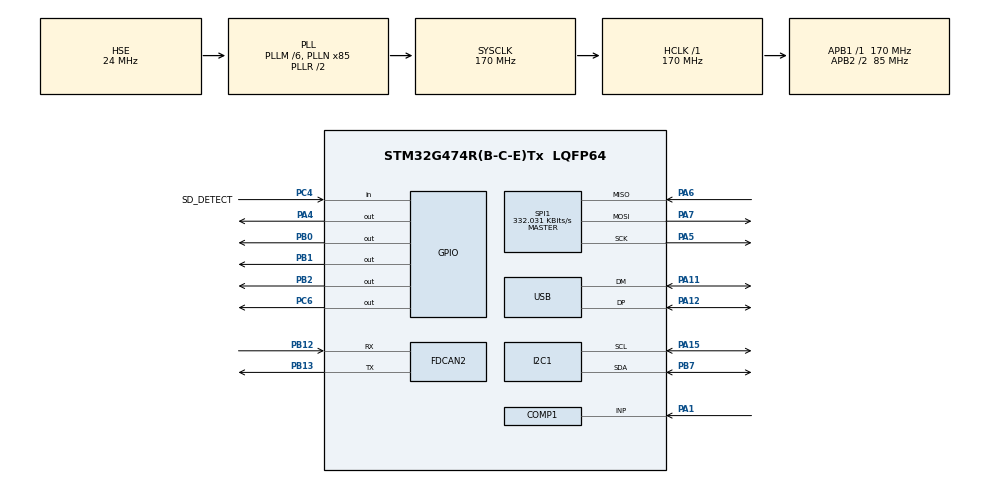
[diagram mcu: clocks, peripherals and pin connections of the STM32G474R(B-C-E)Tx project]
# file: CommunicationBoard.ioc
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COMP1.Hysteresis=COMP_HYSTERESIS_20MV
COMP1.TriggerMode=COMP_TRIGGERMODE_IT_FALLING
FDCAN2.CalculateBaudRateNominal=3541666
FDCAN2.CalculateTimeBitNominal=282
FDCAN2.CalculateTimeQuantumNominal=94.11764705882354
I2C1.Timing=0x40B285C2
Mcu.Family=STM32G4
Mcu.Name=STM32G474R(B-C-E)Tx
Mcu.Package=LQFP64
NVIC.COMP1_2_3_IRQn=true\:0\:0\:false\:false\:true\:false\:true\:true
NVIC.PriorityGroup=NVIC_PRIORITYGROUP_4
PA1.Mode=INP
PA1.Signal=COMP1_INP
PA11.Mode=Device
PA11.Signal=USB_DM
PA12.Mode=Device
PA12.Signal=USB_DP
PA13.Mode=Serial_Wire
PA13.Signal=SYS_JTMS-SWDIO
PA14.Mode=Serial_Wire
PA14.Signal=SYS_JTCK-SWCLK
PA15.Mode=I2C
PA15.Signal=I2C1_SCL
PA4.PinState=GPIO_PIN_SET
PA4.Signal=GPIO_Output
PA5.Mode=Full_Duplex_Master
PA5.Signal=SPI1_SCK
PA6.GPIO_PuPd=GPIO_PULLUP
PA6.Mode=Full_Duplex_Master
PA6.Signal=SPI1_MISO
PA7.Mode=Full_Duplex_Master
PA7.Signal=SPI1_MOSI
PB0.Signal=GPIO_Output
PB1.Signal=GPIO_Output
PB12.Mode=FDCAN_Activate
PB12.Signal=FDCAN2_RX
PB13.Mode=FDCAN_Activate
PB13.Signal=FDCAN2_TX
PB2.Signal=GPIO_Output
PB7.Mode=I2C
PB7.Signal=I2C1_SDA
PC14-OSC32_IN.Mode=LSE-External-Oscillator
PC14-OSC32_IN.Signal=RCC_OSC32_IN
PC15-OSC32_OUT.Mode=LSE-External-Oscillator
PC15-OSC32_OUT.Signal=RCC_OSC32_OUT
PC4.GPIO_Label=SD_DETECT
PC4.Signal=GPIO_Input
PC6.Signal=GPIO_Output
PF0-OSC_IN.Mode=HSE-External-Oscillator
PF0-OSC_IN.Signal=RCC_OSC_IN
PF1-OSC_OUT.Mode=HSE-External-Oscillator
PF1-OSC_OUT.Signal=RCC_OSC_OUT
ProjectManager.HeapSize=0x1000
ProjectManager.StackSize=0x1000
ProjectManager.TargetToolchain=STM32CubeIDE
RCC.ADC12Freq_Value=170000000
RCC.ADC345Freq_Value=170000000
RCC.AHBFreq_Value=170000000
RCC.APB1Freq_Value=170000000
RCC.APB1TimFreq_Value=170000000
RCC.APB2CLKDivider=RCC_HCLK_DIV2
RCC.APB2Freq_Value=85000000
RCC.APB2TimFreq_Value=85000000
RCC.CK48CLockSelection=RCC_USBCLKSOURCE_HSI48
RCC.CortexFreq_Value=170000000
RCC.EXTERNAL_CLOCK_VALUE=12288000
RCC.HCLKFreq_Value=170000000
RCC.HSE_VALUE=24000000
RCC.HSI48_VALUE=48000000
RCC.HSI_VALUE=16000000
RCC.PLLM=RCC_PLLM_DIV6
RCC.PLLN=85
RCC.PLLQ=RCC_PLLQ_DIV4
RCC.PLLSourceVirtual=RCC_PLLSOURCE_HSE
RCC.SYSCLKFreq_VALUE=170000000
RCC.SYSCLKSource=RCC_SYSCLKSOURCE_PLLCLK
RCC.USBFreq_Value=48000000
RCC.VCOOutputFreq_Value=340000000
SPI1.BaudRatePrescaler=SPI_BAUDRATEPRESCALER_256
SPI1.CalculateBaudRate=332.031 KBits/s
SPI1.DataSize=SPI_DATASIZE_8BIT
SPI1.Direction=SPI_DIRECTION_2LINES
SPI1.Mode=SPI_MODE_MASTER
SPI1.VirtualType=VM_MASTER
VP_COMP1_VS_VREFINT.Mode=VREFINT
VP_FATFS_VS_Generic.Mode=User_defined
VP_RTC_VS_RTC_Activate.Mode=RTC_Enabled
VP_RTC_VS_RTC_Calendar.Mode=RTC_Calendar
VP_SYS_VS_DBSignals.Mode=DisableDeadBatterySignals
board=custom

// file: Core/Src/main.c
/* USER CODE BEGIN Header */
/**
  ******************************************************************************
  * @file           : main.c
  * @brief          : Main program body
  ******************************************************************************
  * @attention
  *
  * Copyright (c) 2026 STMicroelectronics.
  * All rights reserved.
  *
  * This software is licensed under terms that can be found in the LICENSE file
  * in the root directory of this software component.
  * If no LICENSE file comes with this software, it is provided AS-IS.
  *
  ******************************************************************************
  */
/* USER CODE END Header */
#include "main.h"
#include "comp.h"
#include "app_fatfs.h"
#include "fdcan.h"
#include "i2c.h"
#include "rtc.h"
#include "spi.h"
#include "usb.h"
#include "gpio.h"

/* USER CODE BEGIN Includes */
#include <stdio.h>

/* USER CODE END Includes */

/* USER CODE BEGIN PTD */
typedef struct {
  uint32_t total_us;       /* all writes + syncs + close */
  uint32_t kb_per_s;
  uint32_t avg_write_us;   /* average f_write of SPEED_CHUNK_BYTES */
  uint32_t max_write_us;   /* slowest f_write of SPEED_CHUNK_BYTES: card busy pauses show up here */
  uint32_t max_sync_us;    /* slowest f_sync: FAT + directory update */
} SdSpeed;

/* USER CODE END PTD */

/* USER CODE BEGIN PD */
/* Status LED. If PB0 gets the CubeMX label "LED_STATUS", main.h defines these. */
#ifndef LED_STATUS_Pin
#define LED_STATUS_Pin       GPIO_PIN_0
#define LED_STATUS_GPIO_Port GPIOB
#endif

#define SPEED_TEST_KB     256   /* how much the speed test writes */
#define SPEED_CHUNK_BYTES 8192
#define SPEED_SYNC_BYTES 32768

/* USER CODE END PD */

/* USER CODE BEGIN PV */
volatile FRESULT sd_test_result;  /* last FatFs result of the SD test; watch it in the debugger */
volatile SdSpeed sd_speed;        /* speed test results; also saved to SPEED.CSV */

/* USER CODE END PV */

void SystemClock_Config(void);

/* USER CODE BEGIN 0 */
/* SD card test: append one fake CAN26 Heartbeat line to CANTEST.CSV.
 * Returns 0 on success, or which step failed: 1 mount, 2 open, 3 write, 4 close. */
static uint8_t sd_test(void)
{
  char line[80];
  int n = 0;
  UINT written;

  sd_test_result = f_mount(&USERFatFs, USERPath, 1);
  if (sd_test_result != FR_OK) return 1;

  sd_test_result = f_open(&USERFile, "CANTEST.CSV", FA_OPEN_APPEND | FA_WRITE);
  if (sd_test_result != FR_OK) return 2;

  if (f_size(&USERFile) == 0)   /* new file: write the column names first */
    n = snprintf(line, sizeof line, "ms,id,dlc,data\r\n");
  /* Heartbeat from UUID 0x61 to the Jetson (0x01): error 0, state 1 */
  n += snprintf(line + n, sizeof line - n, "%lu,0x408,7,02 61 00 00 00 00 01\r\n", (unsigned long)HAL_GetTick());

  sd_test_result = f_write(&USERFile, line, n, &written);
  if (sd_test_result != FR_OK || written != (UINT)n) {
    f_close(&USERFile);
    return 3;
  }

  sd_test_result = f_close(&USERFile);
  if (sd_test_result != FR_OK) return 4;
  return 0;
}

/* Microseconds since start, using the CPU cycle counter (no RTC needed).
 * The 32-bit counter wraps after ~25 s at 170 MHz, so only time shorter things. */
static uint32_t us_since(uint32_t start)
{
  return (DWT->CYCCNT - start) / (SystemCoreClock / 1000000U);
}

/* Write-speed test: writes SPEED_TEST_KB to SPEED.BIN in SPEED_CHUNK_BYTES pieces (the way
 * the logger will), with an f_sync every SPEED_SYNC_BYTES bytes. Results go to
 * sd_speed and one line is appended to SPEED.CSV. Returns 0 on success, 5 on failure. */
static uint8_t sd_speed_test(void)
{
  static uint8_t buf[SPEED_CHUNK_BYTES] __attribute__((aligned(4)));
  char line[128];
  uint32_t t_all, t, us, sum_write_us = 0, i;
  UINT written;
  const uint32_t chunks = SPEED_TEST_KB * 1024U / SPEED_CHUNK_BYTES;
  int n = 0;

  CoreDebug->DEMCR |= CoreDebug_DEMCR_TRCENA_Msk;   /* turn on the cycle counter */
  DWT->CYCCNT = 0;
  DWT->CTRL |= DWT_CTRL_CYCCNTENA_Msk;

  for (i = 0; i < sizeof buf; i++) buf[i] = (uint8_t)i;

  sd_test_result = f_open(&USERFile, "SPEED.BIN", FA_CREATE_ALWAYS | FA_WRITE);
  if (sd_test_result != FR_OK) return 5;

  t_all = DWT->CYCCNT;
  for (i = 1; i <= chunks; i++) {
    t = DWT->CYCCNT;
    sd_test_result = f_write(&USERFile, buf, sizeof buf, &written);
    us = us_since(t);
    if (sd_test_result != FR_OK || written != sizeof buf) {
      f_close(&USERFile);
      return 5;
    }
    sum_write_us += us;
    if (us > sd_speed.max_write_us) sd_speed.max_write_us = us;

    if ((i * SPEED_CHUNK_BYTES) % SPEED_SYNC_BYTES == 0) {
      t = DWT->CYCCNT;
      sd_test_result = f_sync(&USERFile);
      us = us_since(t);
      if (sd_test_result != FR_OK) {
        f_close(&USERFile);
        return 5;
      }
      if (us > sd_speed.max_sync_us) sd_speed.max_sync_us = us;
    }
  }
  sd_test_result = f_close(&USERFile);
  if (sd_test_result != FR_OK) return 5;

  sd_speed.total_us = us_since(t_all);
  sd_speed.kb_per_s = (uint32_t)(SPEED_TEST_KB * 1000000ULL / sd_speed.total_us);
  sd_speed.avg_write_us = sum_write_us / chunks;

  sd_test_result = f_open(&USERFile, "SPEED.CSV", FA_OPEN_APPEND | FA_WRITE);
  if (sd_test_result != FR_OK) return 5;
  if (f_size(&USERFile) == 0)
    n = snprintf(line, sizeof line, "kb,total_ms,kb_per_s,avg_write_us,max_write_us,max_sync_us\r\n");
  n += snprintf(line + n, sizeof line - n, "%d,%lu,%lu,%lu,%lu,%lu\r\n", SPEED_TEST_KB,
                (unsigned long)(sd_speed.total_us / 1000), (unsigned long)sd_speed.kb_per_s,
                (unsigned long)sd_speed.avg_write_us, (unsigned long)sd_speed.max_write_us,
                (unsigned long)sd_speed.max_sync_us);
  sd_test_result = f_write(&USERFile, line, n, &written);
  if (sd_test_result != FR_OK || written != (UINT)n) {
    f_close(&USERFile);
    return 5;
  }
  sd_test_result = f_close(&USERFile);
  return (sd_test_result == FR_OK) ? 0 : 5;
}

/* USER CODE END 0 */

int main(void)
{

  /* MCU Configuration--------------------------------------------------------*/

  /* Reset of all peripherals, Initializes the Flash interface and the Systick. */
  HAL_Init();

  /* Configure the system clock */
  SystemClock_Config();

  /* Initialize all configured peripherals */
  MX_GPIO_Init();
  MX_COMP1_Init();
  MX_FDCAN2_Init();
  MX_I2C1_Init();
  MX_RTC_Init();
  MX_SPI1_Init();
  MX_USB_PCD_Init();
  if (MX_FATFS_Init() != APP_OK) {
    Error_Handler();
  }
  /* USER CODE BEGIN 2 */
  uint8_t sd_fail = sd_test();
  if (sd_fail == 0) sd_fail = sd_speed_test();

  /* USER CODE END 2 */

  /* Infinite loop */
  while (1)
  {

    /* USER CODE BEGIN 3 */
    /* LED_STATUS: solid on = SD tests passed; N blinks then a pause = step N failed
     * (1 mount, 2 open, 3 write, 4 close, 5 speed test) */
    if (sd_fail == 0) {
      HAL_GPIO_WritePin(LED_STATUS_GPIO_Port, LED_STATUS_Pin, GPIO_PIN_SET);
    } else {
      for (uint8_t i = 0; i < sd_fail; i++) {
        HAL_GPIO_WritePin(LED_STATUS_GPIO_Port, LED_STATUS_Pin, GPIO_PIN_SET);
        HAL_Delay(200);
        HAL_GPIO_WritePin(LED_STATUS_GPIO_Port, LED_STATUS_Pin, GPIO_PIN_RESET);
        HAL_Delay(300);
      }
      HAL_Delay(1500);
    }
  }
  /* USER CODE END 3 */
}

void SystemClock_Config(void)
{
  RCC_OscInitTypeDef RCC_OscInitStruct = {0};
  RCC_ClkInitTypeDef RCC_ClkInitStruct = {0};

  /** Configure the main internal regulator output voltage
  */
  HAL_PWREx_ControlVoltageScaling(PWR_REGULATOR_VOLTAGE_SCALE1_BOOST);

  /** Initializes the RCC Oscillators according to the specified parameters
  * in the RCC_OscInitTypeDef structure.
  */
  RCC_OscInitStruct.OscillatorType = RCC_OSCILLATORTYPE_HSI48|RCC_OSCILLATORTYPE_LSI
                              |RCC_OSCILLATORTYPE_HSE;
  RCC_OscInitStruct.HSEState = RCC_HSE_ON;
  RCC_OscInitStruct.LSIState = RCC_LSI_ON;
  RCC_OscInitStruct.HSI48State = RCC_HSI48_ON;
  RCC_OscInitStruct.PLL.PLLState = RCC_PLL_ON;
  RCC_OscInitStruct.PLL.PLLSource = RCC_PLLSOURCE_HSE;
  RCC_OscInitStruct.PLL.PLLM = RCC_PLLM_DIV6;
  RCC_OscInitStruct.PLL.PLLN = 85;
  RCC_OscInitStruct.PLL.PLLP = RCC_PLLP_DIV2;
  RCC_OscInitStruct.PLL.PLLQ = RCC_PLLQ_DIV4;
  RCC_OscInitStruct.PLL.PLLR = RCC_PLLR_DIV2;
  if (HAL_RCC_OscConfig(&RCC_OscInitStruct) != HAL_OK)
  {
    Error_Handler();
  }

  /** Initializes the CPU, AHB and APB buses clocks
  */
  RCC_ClkInitStruct.ClockType = RCC_CLOCKTYPE_HCLK|RCC_CLOCKTYPE_SYSCLK
                              |RCC_CLOCKTYPE_PCLK1|RCC_CLOCKTYPE_PCLK2;
  RCC_ClkInitStruct.SYSCLKSource = RCC_SYSCLKSOURCE_PLLCLK;
  RCC_ClkInitStruct.AHBCLKDivider = RCC_SYSCLK_DIV1;
  RCC_ClkInitStruct.APB1CLKDivider = RCC_HCLK_DIV1;
  RCC_ClkInitStruct.APB2CLKDivider = RCC_HCLK_DIV2;

  if (HAL_RCC_ClockConfig(&RCC_ClkInitStruct, FLASH_LATENCY_4) != HAL_OK)
  {
    Error_Handler();
  }
}

void Error_Handler(void)
{
  __disable_irq();
  while (1)
  {
  }
}
